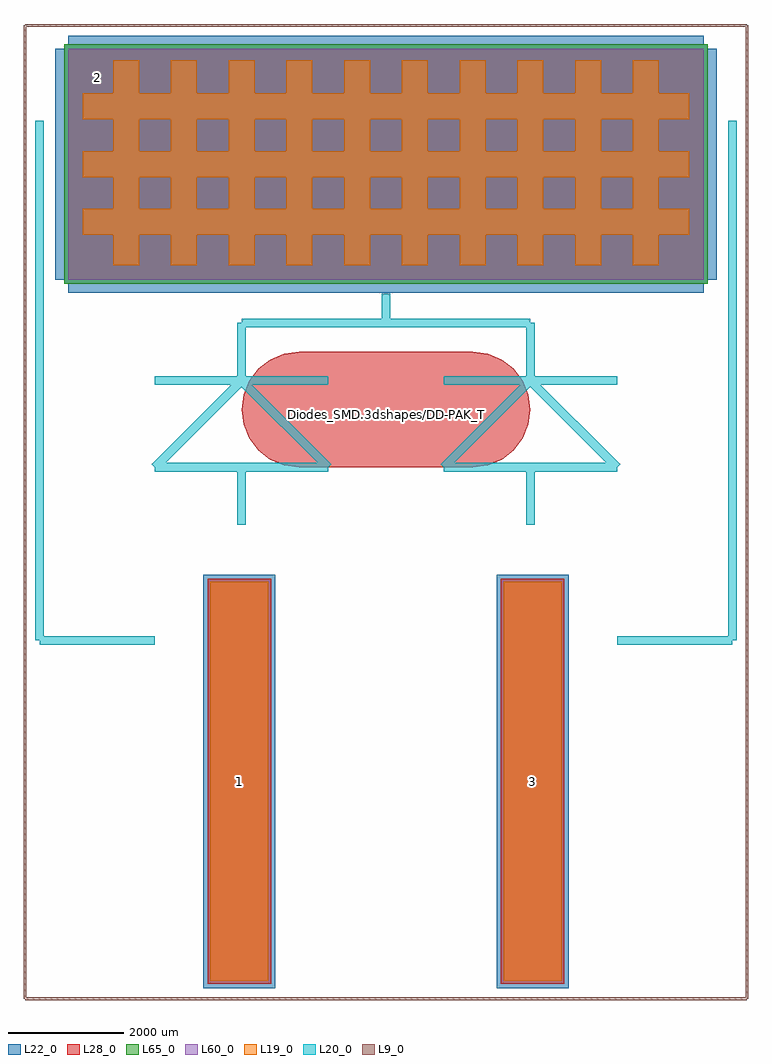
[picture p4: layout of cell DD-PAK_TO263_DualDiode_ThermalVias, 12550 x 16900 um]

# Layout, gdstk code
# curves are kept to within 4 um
import gdstk
lib = gdstk.Library(unit=1e-6, precision=1e-09)
def R(c, l, rs):  # rectangles x0, y0, x1, y1
    for r in rs: c.add(gdstk.rectangle(r[:2], r[2:], *l))
def A(c, l, x, y, w, h, nx, ny, dx, dy):  # array of equal rectangles
    R(c, l, [(x+i*dx, y+j*dy, x+i*dx+w, y+j*dy+h) for i in range(nx) for j in range(ny)])
def P(c, l, *ps):  # polygons
    for p in ps: c.add(gdstk.Polygon(p, *l))
L9_0 = (9, 0)
L19_0 = (19, 0)
L20_0 = (20, 0)
L22_0 = (22, 0)
L28_0 = (28, 0)
L60_0 = (60, 0)
L65_0 = (65, 0)

dd_pak_to263_dualdiode_t = lib.new_cell('DD-PAK_TO263_DualDiode_ThermalVias')
R(dd_pak_to263_dualdiode_t, L19_0, [(-3039.91,-7895.12,-2040.09,-984.72), (2040.09,-7895.12,3039.91,-984.72)])
A(dd_pak_to263_dualdiode_t, L22_0, -5575, 4175, 1150, 1150, 11, 4, 1000, 1000)
R(dd_pak_to263_dualdiode_t, L22_0, [(-3164.91,-8020.12,-1915.09,-859.72), (1915.09,-8020.12,3164.91,-859.72)])
P(dd_pak_to263_dualdiode_t, L22_0, [(-4900,7750),(-4907.612,7788.268),(-4929.289,7820.711),(-4961.732,7842.388),(-5000,7850),(-5038.268,7842.388),(-5070.711,7820.711),(-5092.388,7788.268),(-5100,7750),(-5092.388,7711.732),(-5070.711,7679.289),(-5038.268,7657.612),(-5000,7650),(-4961.732,7657.612),(-4929.289,7679.289),(-4907.612,7711.732)],
  [(-3900,7750),(-3907.612,7788.268),(-3929.289,7820.711),(-3961.732,7842.388),(-4000,7850),(-4038.268,7842.388),(-4070.711,7820.711),(-4092.388,7788.268),(-4100,7750),(-4092.388,7711.732),(-4070.711,7679.289),(-4038.268,7657.612),(-4000,7650),(-3961.732,7657.612),(-3929.289,7679.289),(-3907.612,7711.732)],
  [(-1900,7750),(-1907.612,7788.268),(-1929.289,7820.711),(-1961.732,7842.388),(-2000,7850),(-2038.268,7842.388),(-2070.711,7820.711),(-2092.388,7788.268),(-2100,7750),(-2092.388,7711.732),(-2070.711,7679.289),(-2038.268,7657.612),(-2000,7650),(-1961.732,7657.612),(-1929.289,7679.289),(-1907.612,7711.732)],
  [(-2900,7750),(-2907.612,7788.268),(-2929.289,7820.711),(-2961.732,7842.388),(-3000,7850),(-3038.268,7842.388),(-3070.711,7820.711),(-3092.388,7788.268),(-3100,7750),(-3092.388,7711.732),(-3070.711,7679.289),(-3038.268,7657.612),(-3000,7650),(-2961.732,7657.612),(-2929.289,7679.289),(-2907.612,7711.732)],
  [(-900,7750),(-907.612,7788.268),(-929.289,7820.711),(-961.732,7842.388),(-1000,7850),(-1038.268,7842.388),(-1070.711,7820.711),(-1092.388,7788.268),(-1100,7750),(-1092.388,7711.732),(-1070.711,7679.289),(-1038.268,7657.612),(-1000,7650),(-961.732,7657.612),(-929.289,7679.289),(-907.612,7711.732)],
  [(100,7750),(92.388,7788.268),(70.711,7820.711),(38.268,7842.388),(0,7850),(-38.268,7842.388),(-70.711,7820.711),(-92.388,7788.268),(-100,7750),(-92.388,7711.732),(-70.711,7679.289),(-38.268,7657.612),(0,7650),(38.268,7657.612),(70.711,7679.289),(92.388,7711.732)],
  [(-2900,6750),(-2907.612,6788.268),(-2929.289,6820.711),(-2961.732,6842.388),(-3000,6850),(-3038.268,6842.388),(-3070.711,6820.711),(-3092.388,6788.268),(-3100,6750),(-3092.388,6711.732),(-3070.711,6679.289),(-3038.268,6657.612),(-3000,6650),(-2961.732,6657.612),(-2929.289,6679.289),(-2907.612,6711.732)],
  [(-3900,6750),(-3907.612,6788.268),(-3929.289,6820.711),(-3961.732,6842.388),(-4000,6850),(-4038.268,6842.388),(-4070.711,6820.711),(-4092.388,6788.268),(-4100,6750),(-4092.388,6711.732),(-4070.711,6679.289),(-4038.268,6657.612),(-4000,6650),(-3961.732,6657.612),(-3929.289,6679.289),(-3907.612,6711.732)],
  [(5100,7750),(5092.388,7788.268),(5070.711,7820.711),(5038.268,7842.388),(5000,7850),(4961.732,7842.388),(4929.289,7820.711),(4907.612,7788.268),(4900,7750),(4907.612,7711.732),(4929.289,7679.289),(4961.732,7657.612),(5000,7650),(5038.268,7657.612),(5070.711,7679.289),(5092.388,7711.732)],
  [(-4900,6750),(-4907.612,6788.268),(-4929.289,6820.711),(-4961.732,6842.388),(-5000,6850),(-5038.268,6842.388),(-5070.711,6820.711),(-5092.388,6788.268),(-5100,6750),(-5092.388,6711.732),(-5070.711,6679.289),(-5038.268,6657.612),(-5000,6650),(-4961.732,6657.612),(-4929.289,6679.289),(-4907.612,6711.732)],
  [(100,5750),(92.388,5788.268),(70.711,5820.711),(38.268,5842.388),(0,5850),(-38.268,5842.388),(-70.711,5820.711),(-92.388,5788.268),(-100,5750),(-92.388,5711.732),(-70.711,5679.289),(-38.268,5657.612),(0,5650),(38.268,5657.612),(70.711,5679.289),(92.388,5711.732)],
  [(-900,5750),(-907.612,5788.268),(-929.289,5820.711),(-961.732,5842.388),(-1000,5850),(-1038.268,5842.388),(-1070.711,5820.711),(-1092.388,5788.268),(-1100,5750),(-1092.388,5711.732),(-1070.711,5679.289),(-1038.268,5657.612),(-1000,5650),(-961.732,5657.612),(-929.289,5679.289),(-907.612,5711.732)],
  [(1100,5750),(1092.388,5788.268),(1070.711,5820.711),(1038.268,5842.388),(1000,5850),(961.732,5842.388),(929.289,5820.711),(907.612,5788.268),(900,5750),(907.612,5711.732),(929.289,5679.289),(961.732,5657.612),(1000,5650),(1038.268,5657.612),(1070.711,5679.289),(1092.388,5711.732)],
  [(2100,5750),(2092.388,5788.268),(2070.711,5820.711),(2038.268,5842.388),(2000,5850),(1961.732,5842.388),(1929.289,5820.711),(1907.612,5788.268),(1900,5750),(1907.612,5711.732),(1929.289,5679.289),(1961.732,5657.612),(2000,5650),(2038.268,5657.612),(2070.711,5679.289),(2092.388,5711.732)],
  [(5100,6750),(5092.388,6788.268),(5070.711,6820.711),(5038.268,6842.388),(5000,6850),(4961.732,6842.388),(4929.289,6820.711),(4907.612,6788.268),(4900,6750),(4907.612,6711.732),(4929.289,6679.289),(4961.732,6657.612),(5000,6650),(5038.268,6657.612),(5070.711,6679.289),(5092.388,6711.732)],
  [(4100,6750),(4092.388,6788.268),(4070.711,6820.711),(4038.268,6842.388),(4000,6850),(3961.732,6842.388),(3929.289,6820.711),(3907.612,6788.268),(3900,6750),(3907.612,6711.732),(3929.289,6679.289),(3961.732,6657.612),(4000,6650),(4038.268,6657.612),(4070.711,6679.289),(4092.388,6711.732)],
  [(2100,6750),(2092.388,6788.268),(2070.711,6820.711),(2038.268,6842.388),(2000,6850),(1961.732,6842.388),(1929.289,6820.711),(1907.612,6788.268),(1900,6750),(1907.612,6711.732),(1929.289,6679.289),(1961.732,6657.612),(2000,6650),(2038.268,6657.612),(2070.711,6679.289),(2092.388,6711.732)],
  [(3100,6750),(3092.388,6788.268),(3070.711,6820.711),(3038.268,6842.388),(3000,6850),(2961.732,6842.388),(2929.289,6820.711),(2907.612,6788.268),(2900,6750),(2907.612,6711.732),(2929.289,6679.289),(2961.732,6657.612),(3000,6650),(3038.268,6657.612),(3070.711,6679.289),(3092.388,6711.732)],
  [(-3900,5750),(-3907.612,5788.268),(-3929.289,5820.711),(-3961.732,5842.388),(-4000,5850),(-4038.268,5842.388),(-4070.711,5820.711),(-4092.388,5788.268),(-4100,5750),(-4092.388,5711.732),(-4070.711,5679.289),(-4038.268,5657.612),(-4000,5650),(-3961.732,5657.612),(-3929.289,5679.289),(-3907.612,5711.732)],
  [(-4900,5750),(-4907.612,5788.268),(-4929.289,5820.711),(-4961.732,5842.388),(-5000,5850),(-5038.268,5842.388),(-5070.711,5820.711),(-5092.388,5788.268),(-5100,5750),(-5092.388,5711.732),(-5070.711,5679.289),(-5038.268,5657.612),(-5000,5650),(-4961.732,5657.612),(-4929.289,5679.289),(-4907.612,5711.732)],
  [(-2900,5750),(-2907.612,5788.268),(-2929.289,5820.711),(-2961.732,5842.388),(-3000,5850),(-3038.268,5842.388),(-3070.711,5820.711),(-3092.388,5788.268),(-3100,5750),(-3092.388,5711.732),(-3070.711,5679.289),(-3038.268,5657.612),(-3000,5650),(-2961.732,5657.612),(-2929.289,5679.289),(-2907.612,5711.732)],
  [(-1900,5750),(-1907.612,5788.268),(-1929.289,5820.711),(-1961.732,5842.388),(-2000,5850),(-2038.268,5842.388),(-2070.711,5820.711),(-2092.388,5788.268),(-2100,5750),(-2092.388,5711.732),(-2070.711,5679.289),(-2038.268,5657.612),(-2000,5650),(-1961.732,5657.612),(-1929.289,5679.289),(-1907.612,5711.732)],
  [(2100,4750),(2092.388,4788.268),(2070.711,4820.711),(2038.268,4842.388),(2000,4850),(1961.732,4842.388),(1929.289,4820.711),(1907.612,4788.268),(1900,4750),(1907.612,4711.732),(1929.289,4679.289),(1961.732,4657.612),(2000,4650),(2038.268,4657.612),(2070.711,4679.289),(2092.388,4711.732)],
  [(5100,5750),(5092.388,5788.268),(5070.711,5820.711),(5038.268,5842.388),(5000,5850),(4961.732,5842.388),(4929.289,5820.711),(4907.612,5788.268),(4900,5750),(4907.612,5711.732),(4929.289,5679.289),(4961.732,5657.612),(5000,5650),(5038.268,5657.612),(5070.711,5679.289),(5092.388,5711.732)],
  [(3100,5750),(3092.388,5788.268),(3070.711,5820.711),(3038.268,5842.388),(3000,5850),(2961.732,5842.388),(2929.289,5820.711),(2907.612,5788.268),(2900,5750),(2907.612,5711.732),(2929.289,5679.289),(2961.732,5657.612),(3000,5650),(3038.268,5657.612),(3070.711,5679.289),(3092.388,5711.732)],
  [(4100,5750),(4092.388,5788.268),(4070.711,5820.711),(4038.268,5842.388),(4000,5850),(3961.732,5842.388),(3929.289,5820.711),(3907.612,5788.268),(3900,5750),(3907.612,5711.732),(3929.289,5679.289),(3961.732,5657.612),(4000,5650),(4038.268,5657.612),(4070.711,5679.289),(4092.388,5711.732)],
  [(-900,6750),(-907.612,6788.268),(-929.289,6820.711),(-961.732,6842.388),(-1000,6850),(-1038.268,6842.388),(-1070.711,6820.711),(-1092.388,6788.268),(-1100,6750),(-1092.388,6711.732),(-1070.711,6679.289),(-1038.268,6657.612),(-1000,6650),(-961.732,6657.612),(-929.289,6679.289),(-907.612,6711.732)],
  [(-1900,6750),(-1907.612,6788.268),(-1929.289,6820.711),(-1961.732,6842.388),(-2000,6850),(-2038.268,6842.388),(-2070.711,6820.711),(-2092.388,6788.268),(-2100,6750),(-2092.388,6711.732),(-2070.711,6679.289),(-2038.268,6657.612),(-2000,6650),(-1961.732,6657.612),(-1929.289,6679.289),(-1907.612,6711.732)],
  [(100,6750),(92.388,6788.268),(70.711,6820.711),(38.268,6842.388),(0,6850),(-38.268,6842.388),(-70.711,6820.711),(-92.388,6788.268),(-100,6750),(-92.388,6711.732),(-70.711,6679.289),(-38.268,6657.612),(0,6650),(38.268,6657.612),(70.711,6679.289),(92.388,6711.732)],
  [(1100,6750),(1092.388,6788.268),(1070.711,6820.711),(1038.268,6842.388),(1000,6850),(961.732,6842.388),(929.289,6820.711),(907.612,6788.268),(900,6750),(907.612,6711.732),(929.289,6679.289),(961.732,6657.612),(1000,6650),(1038.268,6657.612),(1070.711,6679.289),(1092.388,6711.732)],
  [(4100,7750),(4092.388,7788.268),(4070.711,7820.711),(4038.268,7842.388),(4000,7850),(3961.732,7842.388),(3929.289,7820.711),(3907.612,7788.268),(3900,7750),(3907.612,7711.732),(3929.289,7679.289),(3961.732,7657.612),(4000,7650),(4038.268,7657.612),(4070.711,7679.289),(4092.388,7711.732)],
  [(3100,7750),(3092.388,7788.268),(3070.711,7820.711),(3038.268,7842.388),(3000,7850),(2961.732,7842.388),(2929.289,7820.711),(2907.612,7788.268),(2900,7750),(2907.612,7711.732),(2929.289,7679.289),(2961.732,7657.612),(3000,7650),(3038.268,7657.612),(3070.711,7679.289),(3092.388,7711.732)],
  [(1100,7750),(1092.388,7788.268),(1070.711,7820.711),(1038.268,7842.388),(1000,7850),(961.732,7842.388),(929.289,7820.711),(907.612,7788.268),(900,7750),(907.612,7711.732),(929.289,7679.289),(961.732,7657.612),(1000,7650),(1038.268,7657.612),(1070.711,7679.289),(1092.388,7711.732)],
  [(2100,7750),(2092.388,7788.268),(2070.711,7820.711),(2038.268,7842.388),(2000,7850),(1961.732,7842.388),(1929.289,7820.711),(1907.612,7788.268),(1900,7750),(1907.612,7711.732),(1929.289,7679.289),(1961.732,7657.612),(2000,7650),(2038.268,7657.612),(2070.711,7679.289),(2092.388,7711.732)],
  [(1100,4750),(1092.388,4788.268),(1070.711,4820.711),(1038.268,4842.388),(1000,4850),(961.732,4842.388),(929.289,4820.711),(907.612,4788.268),(900,4750),(907.612,4711.732),(929.289,4679.289),(961.732,4657.612),(1000,4650),(1038.268,4657.612),(1070.711,4679.289),(1092.388,4711.732)],
  [(-900,4750),(-907.612,4788.268),(-929.289,4820.711),(-961.732,4842.388),(-1000,4850),(-1038.268,4842.388),(-1070.711,4820.711),(-1092.388,4788.268),(-1100,4750),(-1092.388,4711.732),(-1070.711,4679.289),(-1038.268,4657.612),(-1000,4650),(-961.732,4657.612),(-929.289,4679.289),(-907.612,4711.732)],
  [(100,4750),(92.388,4788.268),(70.711,4820.711),(38.268,4842.388),(0,4850),(-38.268,4842.388),(-70.711,4820.711),(-92.388,4788.268),(-100,4750),(-92.388,4711.732),(-70.711,4679.289),(-38.268,4657.612),(0,4650),(38.268,4657.612),(70.711,4679.289),(92.388,4711.732)],
  [(-3900,4750),(-3907.612,4788.268),(-3929.289,4820.711),(-3961.732,4842.388),(-4000,4850),(-4038.268,4842.388),(-4070.711,4820.711),(-4092.388,4788.268),(-4100,4750),(-4092.388,4711.732),(-4070.711,4679.289),(-4038.268,4657.612),(-4000,4650),(-3961.732,4657.612),(-3929.289,4679.289),(-3907.612,4711.732)],
  [(-4900,4750),(-4907.612,4788.268),(-4929.289,4820.711),(-4961.732,4842.388),(-5000,4850),(-5038.268,4842.388),(-5070.711,4820.711),(-5092.388,4788.268),(-5100,4750),(-5092.388,4711.732),(-5070.711,4679.289),(-5038.268,4657.612),(-5000,4650),(-4961.732,4657.612),(-4929.289,4679.289),(-4907.612,4711.732)],
  [(-2900,4750),(-2907.612,4788.268),(-2929.289,4820.711),(-2961.732,4842.388),(-3000,4850),(-3038.268,4842.388),(-3070.711,4820.711),(-3092.388,4788.268),(-3100,4750),(-3092.388,4711.732),(-3070.711,4679.289),(-3038.268,4657.612),(-3000,4650),(-2961.732,4657.612),(-2929.289,4679.289),(-2907.612,4711.732)],
  [(-1900,4750),(-1907.612,4788.268),(-1929.289,4820.711),(-1961.732,4842.388),(-2000,4850),(-2038.268,4842.388),(-2070.711,4820.711),(-2092.388,4788.268),(-2100,4750),(-2092.388,4711.732),(-2070.711,4679.289),(-2038.268,4657.612),(-2000,4650),(-1961.732,4657.612),(-1929.289,4679.289),(-1907.612,4711.732)],
  [(5100,4750),(5092.388,4788.268),(5070.711,4820.711),(5038.268,4842.388),(5000,4850),(4961.732,4842.388),(4929.289,4820.711),(4907.612,4788.268),(4900,4750),(4907.612,4711.732),(4929.289,4679.289),(4961.732,4657.612),(5000,4650),(5038.268,4657.612),(5070.711,4679.289),(5092.388,4711.732)],
  [(3100,4750),(3092.388,4788.268),(3070.711,4820.711),(3038.268,4842.388),(3000,4850),(2961.732,4842.388),(2929.289,4820.711),(2907.612,4788.268),(2900,4750),(2907.612,4711.732),(2929.289,4679.289),(2961.732,4657.612),(3000,4650),(3038.268,4657.612),(3070.711,4679.289),(3092.388,4711.732)],
  [(4100,4750),(4092.388,4788.268),(4070.711,4820.711),(4038.268,4842.388),(4000,4850),(3961.732,4842.388),(3929.289,4820.711),(3907.612,4788.268),(3900,4750),(3907.612,4711.732),(3929.289,4679.289),(3961.732,4657.612),(4000,4650),(4038.268,4657.612),(4070.711,4679.289),(4092.388,4711.732)])
A(dd_pak_to263_dualdiode_t, L28_0, -5500, 4250, 1000, 1000, 11, 4, 1000, 1000)
R(dd_pak_to263_dualdiode_t, L28_0, [(-3089.91,-7945.12,-1990.09,-934.72), (1990.09,-7945.12,3089.91,-934.72)])
P(dd_pak_to263_dualdiode_t, L28_0, [(-1501.14,999.49),(1501.14,999.49),(1759.827,1033.547),(2000.885,1133.396),(2207.886,1292.234),(2366.724,1499.235),(2466.573,1740.293),(2500.63,1998.98),(2466.573,2257.667),(2366.724,2498.725),(2207.886,2705.726),(2000.885,2864.564),(1759.827,2964.413),(1501.14,2998.47),(-1501.14,2998.47),(-1759.827,2964.413),(-2000.885,2864.564),(-2207.886,2705.726),(-2366.724,2498.725),(-2466.573,2257.667),(-2500.63,1998.98),(-2466.573,1740.293),(-2366.724,1499.235),(-2207.886,1292.234),(-2000.885,1133.396),(-1759.827,1033.547)])
A(dd_pak_to263_dualdiode_t, L60_0, -5500, 4250, 1000, 1000, 11, 4, 1000, 1000)
A(dd_pak_to263_dualdiode_t, L65_0, -5575, 4175, 1150, 1150, 11, 4, 1000, 1000)
dd_pak_to263_dualdiode_t.add(gdstk.FlexPath([(-5999.48,-1998.98),(-4000.5,-1998.98)], 149.998, ends="flush", simple_path=True, layer=20, datatype=0))  # L20_0
dd_pak_to263_dualdiode_t.add(gdstk.FlexPath([(-5999.48,7000.24),(-5999.48,-1998.98)], 149.998, ends="flush", simple_path=True, layer=20, datatype=0))  # L20_0
dd_pak_to263_dualdiode_t.add(gdstk.FlexPath([(5999.48,-1998.98),(5999.48,7000.24)], 149.998, ends="flush", simple_path=True, layer=20, datatype=0))  # L20_0
dd_pak_to263_dualdiode_t.add(gdstk.FlexPath([(4000.5,-1998.98),(5999.48,-1998.98)], 149.998, ends="flush", simple_path=True, layer=20, datatype=0))  # L20_0
dd_pak_to263_dualdiode_t.add(gdstk.FlexPath([(1000.76,1000.76),(4000.5,1000.76)], 149.998, ends="flush", simple_path=True, layer=20, datatype=0))  # L20_0
dd_pak_to263_dualdiode_t.add(gdstk.FlexPath([(2499.36,2499.36),(1000.76,1000.76)], 149.998, ends="flush", simple_path=True, layer=20, datatype=0))  # L20_0
dd_pak_to263_dualdiode_t.add(gdstk.FlexPath([(4000.5,1000.76),(2499.36,2499.36)], 149.998, ends="flush", simple_path=True, layer=20, datatype=0))  # L20_0
dd_pak_to263_dualdiode_t.add(gdstk.FlexPath([(1000.76,2499.36),(4000.5,2499.36)], 149.998, ends="flush", simple_path=True, layer=20, datatype=0))  # L20_0
dd_pak_to263_dualdiode_t.add(gdstk.FlexPath([(0,3500.12),(0,4000.5)], 149.998, ends="flush", simple_path=True, layer=20, datatype=0))  # L20_0
dd_pak_to263_dualdiode_t.add(gdstk.FlexPath([(2499.36,3500.12),(0,3500.12)], 149.998, ends="flush", simple_path=True, layer=20, datatype=0))  # L20_0
dd_pak_to263_dualdiode_t.add(gdstk.FlexPath([(2499.36,2499.36),(2499.36,3500.12)], 149.998, ends="flush", simple_path=True, layer=20, datatype=0))  # L20_0
dd_pak_to263_dualdiode_t.add(gdstk.FlexPath([(2499.36,1000.76),(2499.36,0)], 149.998, ends="flush", simple_path=True, layer=20, datatype=0))  # L20_0
dd_pak_to263_dualdiode_t.add(gdstk.FlexPath([(-2501.9,1000.76),(-2501.9,0)], 149.998, ends="flush", simple_path=True, layer=20, datatype=0))  # L20_0
dd_pak_to263_dualdiode_t.add(gdstk.FlexPath([(-2501.9,2499.36),(-2501.9,3500.12)], 149.998, ends="flush", simple_path=True, layer=20, datatype=0))  # L20_0
dd_pak_to263_dualdiode_t.add(gdstk.FlexPath([(-4000.5,2499.36),(-1000.76,2499.36)], 149.998, ends="flush", simple_path=True, layer=20, datatype=0))  # L20_0
dd_pak_to263_dualdiode_t.add(gdstk.FlexPath([(-1000.76,1000.76),(-2501.9,2499.36)], 149.998, ends="flush", simple_path=True, layer=20, datatype=0))  # L20_0
dd_pak_to263_dualdiode_t.add(gdstk.FlexPath([(-2501.9,2499.36),(-4000.5,1000.76)], 149.998, ends="flush", simple_path=True, layer=20, datatype=0))  # L20_0
dd_pak_to263_dualdiode_t.add(gdstk.FlexPath([(-4000.5,1000.76),(-1000.76,1000.76)], 149.998, ends="flush", simple_path=True, layer=20, datatype=0))  # L20_0
dd_pak_to263_dualdiode_t.add(gdstk.FlexPath([(-2499.36,3500.12),(0,3500.12)], 149.998, ends="flush", simple_path=True, layer=20, datatype=0))  # L20_0
dd_pak_to263_dualdiode_t.add(gdstk.FlexPath([(-4500,8050),(-4500,4500)], 449.998, ends="flush", simple_path=True, layer=19, datatype=0))  # L19_0
dd_pak_to263_dualdiode_t.add(gdstk.FlexPath([(-4500,8050),(-4500,4500)], 449.998, ends="flush", simple_path=True, layer=22, datatype=0))  # L22_0
dd_pak_to263_dualdiode_t.add(gdstk.FlexPath([(-3500,8050),(-3500,4500)], 449.998, ends="flush", simple_path=True, layer=19, datatype=0))  # L19_0
dd_pak_to263_dualdiode_t.add(gdstk.FlexPath([(-3500,8050),(-3500,4500)], 449.998, ends="flush", simple_path=True, layer=22, datatype=0))  # L22_0
dd_pak_to263_dualdiode_t.add(gdstk.FlexPath([(-2500,8050),(-2500,4500)], 449.998, ends="flush", simple_path=True, layer=19, datatype=0))  # L19_0
dd_pak_to263_dualdiode_t.add(gdstk.FlexPath([(-2500,8050),(-2500,4500)], 449.998, ends="flush", simple_path=True, layer=22, datatype=0))  # L22_0
dd_pak_to263_dualdiode_t.add(gdstk.FlexPath([(-1500,8050),(-1500,4500)], 449.998, ends="flush", simple_path=True, layer=19, datatype=0))  # L19_0
dd_pak_to263_dualdiode_t.add(gdstk.FlexPath([(-1500,8050),(-1500,4500)], 449.998, ends="flush", simple_path=True, layer=22, datatype=0))  # L22_0
dd_pak_to263_dualdiode_t.add(gdstk.FlexPath([(-500,8050),(-500,4500)], 449.998, ends="flush", simple_path=True, layer=19, datatype=0))  # L19_0
dd_pak_to263_dualdiode_t.add(gdstk.FlexPath([(-500,8050),(-500,4500)], 449.998, ends="flush", simple_path=True, layer=22, datatype=0))  # L22_0
dd_pak_to263_dualdiode_t.add(gdstk.FlexPath([(500,8050),(500,4500)], 449.998, ends="flush", simple_path=True, layer=19, datatype=0))  # L19_0
dd_pak_to263_dualdiode_t.add(gdstk.FlexPath([(500,8050),(500,4500)], 449.998, ends="flush", simple_path=True, layer=22, datatype=0))  # L22_0
dd_pak_to263_dualdiode_t.add(gdstk.FlexPath([(1500,8050),(1500,4500)], 449.998, ends="flush", simple_path=True, layer=19, datatype=0))  # L19_0
dd_pak_to263_dualdiode_t.add(gdstk.FlexPath([(1500,8050),(1500,4500)], 449.998, ends="flush", simple_path=True, layer=22, datatype=0))  # L22_0
dd_pak_to263_dualdiode_t.add(gdstk.FlexPath([(2500,8050),(2500,4500)], 449.998, ends="flush", simple_path=True, layer=19, datatype=0))  # L19_0
dd_pak_to263_dualdiode_t.add(gdstk.FlexPath([(2500,8050),(2500,4500)], 449.998, ends="flush", simple_path=True, layer=22, datatype=0))  # L22_0
dd_pak_to263_dualdiode_t.add(gdstk.FlexPath([(3500,8050),(3500,4500)], 449.998, ends="flush", simple_path=True, layer=19, datatype=0))  # L19_0
dd_pak_to263_dualdiode_t.add(gdstk.FlexPath([(3500,8050),(3500,4500)], 449.998, ends="flush", simple_path=True, layer=22, datatype=0))  # L22_0
dd_pak_to263_dualdiode_t.add(gdstk.FlexPath([(4500,8050),(4500,4500)], 449.998, ends="flush", simple_path=True, layer=19, datatype=0))  # L19_0
dd_pak_to263_dualdiode_t.add(gdstk.FlexPath([(4500,8050),(4500,4500)], 449.998, ends="flush", simple_path=True, layer=22, datatype=0))  # L22_0
dd_pak_to263_dualdiode_t.add(gdstk.FlexPath([(-5250,7250),(5250,7250)], 449.998, ends="flush", simple_path=True, layer=19, datatype=0))  # L19_0
dd_pak_to263_dualdiode_t.add(gdstk.FlexPath([(-5250,7250),(5250,7250)], 449.998, ends="flush", simple_path=True, layer=22, datatype=0))  # L22_0
dd_pak_to263_dualdiode_t.add(gdstk.FlexPath([(-5250,6250),(5250,6250)], 449.998, ends="flush", simple_path=True, layer=19, datatype=0))  # L19_0
dd_pak_to263_dualdiode_t.add(gdstk.FlexPath([(-5250,6250),(5250,6250)], 449.998, ends="flush", simple_path=True, layer=22, datatype=0))  # L22_0
dd_pak_to263_dualdiode_t.add(gdstk.FlexPath([(-5250,5250),(5250,5250)], 449.998, ends="flush", simple_path=True, layer=19, datatype=0))  # L19_0
dd_pak_to263_dualdiode_t.add(gdstk.FlexPath([(-5250,5250),(5250,5250)], 449.998, ends="flush", simple_path=True, layer=22, datatype=0))  # L22_0
dd_pak_to263_dualdiode_t.add(gdstk.FlexPath([(-5500,4250),(-5500,8250)], 449.998, ends="flush", simple_path=True, layer=22, datatype=0))  # L22_0
dd_pak_to263_dualdiode_t.add(gdstk.FlexPath([(5500,4250),(-5500,4250)], 449.998, ends="flush", simple_path=True, layer=22, datatype=0))  # L22_0
dd_pak_to263_dualdiode_t.add(gdstk.FlexPath([(5500,8250),(5500,4250)], 449.998, ends="flush", simple_path=True, layer=22, datatype=0))  # L22_0
dd_pak_to263_dualdiode_t.add(gdstk.FlexPath([(-5500,8250),(5500,8250)], 449.998, ends="flush", simple_path=True, layer=22, datatype=0))  # L22_0
dd_pak_to263_dualdiode_t.add(gdstk.FlexPath([(-6250,-8200),(-6250,8650)], 50, ends="flush", simple_path=True, layer=9, datatype=0))  # L9_0
dd_pak_to263_dualdiode_t.add(gdstk.FlexPath([(6250,-8200),(-6250,-8200)], 50, ends="flush", simple_path=True, layer=9, datatype=0))  # L9_0
dd_pak_to263_dualdiode_t.add(gdstk.FlexPath([(6250,8650),(6250,-8200)], 50, ends="flush", simple_path=True, layer=9, datatype=0))  # L9_0
dd_pak_to263_dualdiode_t.add(gdstk.FlexPath([(-6250,8650),(6250,8650)], 50, ends="flush", simple_path=True, layer=9, datatype=0))  # L9_0
dd_pak_to263_dualdiode_t.add(gdstk.Label('Diodes_SMD.3dshapes/DD-PAK_TO263_DualDiode_ThermalVias.wrl', (0,1905), layer=12, texttype=0))
dd_pak_to263_dualdiode_t.add(gdstk.Label('~', (0,1998.98), layer=28, texttype=0))
dd_pak_to263_dualdiode_t.add(gdstk.Label('3', (2540,-4439.92), layer=28, texttype=0))
dd_pak_to263_dualdiode_t.add(gdstk.Label('1', (-2540,-4439.92), layer=28, texttype=0))
dd_pak_to263_dualdiode_t.add(gdstk.Label('2', (-5000,7750), layer=28, texttype=0))
dd_pak_to263_dualdiode_t.add(gdstk.Label('type', (500.38,-9751.06), layer=9, texttype=0))
dd_pak_to263_dualdiode_t.add(gdstk.Label('devicename', (-50,9850), layer=9, texttype=0))

lib.write_gds('DD-PAK_TO263_DualDiode_ThermalVias.gds')
